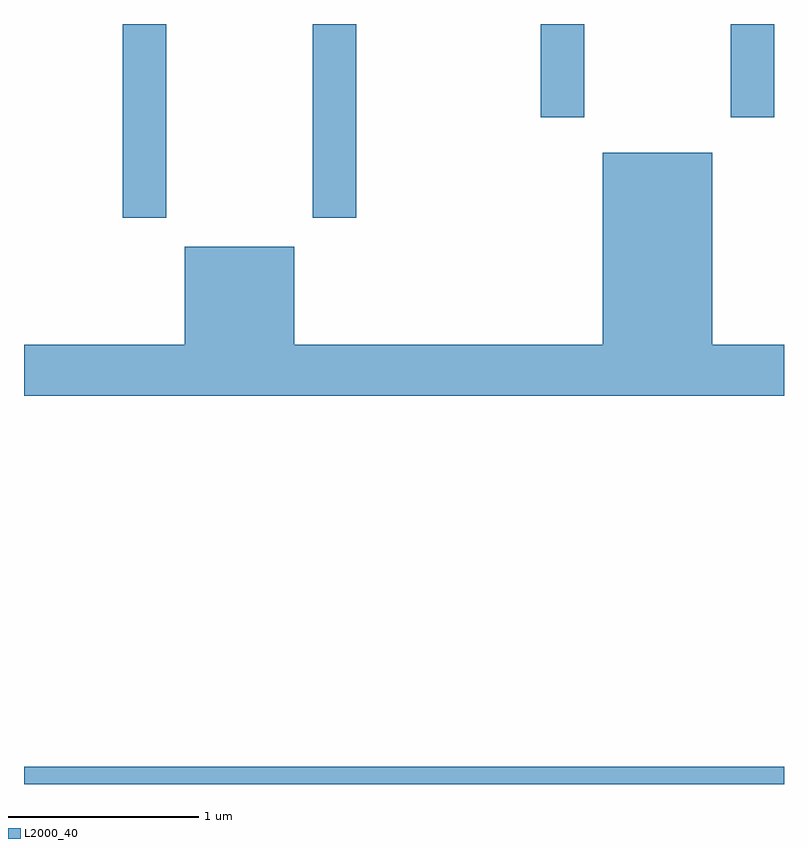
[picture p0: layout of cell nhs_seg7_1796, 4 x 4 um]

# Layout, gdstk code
import gdstk
lib = gdstk.Library(unit=1e-6, precision=1e-09)
def R(c, l, rs):  # rectangles x0, y0, x1, y1
    for r in rs: c.add(gdstk.rectangle(r[:2], r[2:], *l))
def P(c, l, *ps):  # polygons
    for p in ps: c.add(gdstk.Polygon(p, *l))
L2000_40 = (2000, 40)

nhs_seg7_1796 = lib.new_cell('nhs_seg7_1796')
R(nhs_seg7_1796, L2000_40, [(239.611,1732.252,243.611,1732.344), (240.131,1735.231,240.359,1736.252), (241.131,1735.231,241.359,1736.252), (242.331,1735.761,242.559,1736.252), (243.331,1735.761,243.559,1736.252)])
P(nhs_seg7_1796, L2000_40, [(243.611,1734.564),(243.234,1734.564),(243.234,1735.574),(242.656,1735.574),(242.656,1734.564),(241.034,1734.564),(241.034,1735.079),(240.456,1735.079),(240.456,1734.564),(239.611,1734.564),(239.611,1734.296),(243.611,1734.296)])

lib.write_gds('nhs_seg7_1796.gds')
